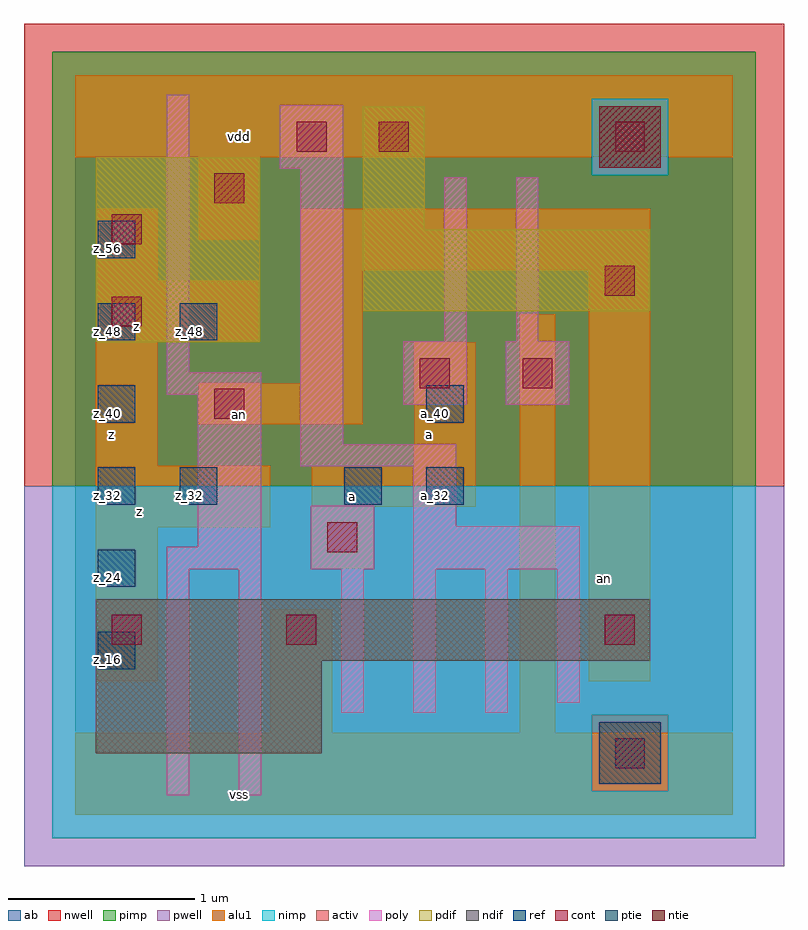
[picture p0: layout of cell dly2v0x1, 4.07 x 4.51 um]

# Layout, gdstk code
import gdstk
lib = gdstk.Library(unit=1e-6, precision=2.5e-09)
def R(c, l, rs):  # rectangles x0, y0, x1, y1
    for r in rs: c.add(gdstk.rectangle(r[:2], r[2:], *l))
def A(c, l, x, y, w, h, nx, ny, dx, dy):  # array of equal rectangles
    R(c, l, [(x+i*dx, y+j*dy, x+i*dx+w, y+j*dy+h) for i in range(nx) for j in range(ny)])
ndif = (3, 0)
pdif = (4, 0)
ntie = (5, 0)
ptie = (6, 0)
ref = (24, 0)
cont = (25, 0)
pwell = (41, 0)
nwell = (42, 0)
activ = (43, 0)
pimp = (44, 0)
nimp = (45, 0)
poly = (46, 0)
alu1 = (49, 0)
ab = (63, 0)

dly2v0x1 = lib.new_cell('dly2v0x1')
R(dly2v0x1, ndif, [(0.11,0.33,1.32,0.825), (0.11,0.825,3.08,1.155)])
R(dly2v0x1, pdif, [(0.11,2.53,0.99,3.52), (1.54,2.695,3.08,3.135), (1.54,3.135,1.87,3.795)])
R(dly2v0x1, ntie, [(2.805,3.465,3.135,3.795)])
R(dly2v0x1, ptie, [(2.805,0.165,3.135,0.495)])
A(dly2v0x1, ref, 0.12, 0.78, 0.2, 0.2, 1, 6, 0, 0.44)
R(dly2v0x1, ref, [(0.56,1.66,0.76,1.86), (1.44,1.66,1.64,1.86), (1.88,1.66,2.08,1.86), (1.88,2.1,2.08,2.3), (0.56,2.54,0.76,2.74)])
R(dly2v0x1, cont, [(2.89,0.25,3.05,0.41), (0.195,0.91,0.355,1.07), (1.13,0.91,1.29,1.07), (2.835,0.91,2.995,1.07), (1.35,1.405,1.51,1.565), (0.745,2.12,0.905,2.28), (1.845,2.285,2.005,2.445), (2.395,2.285,2.555,2.445), (0.195,2.615,0.355,2.775), (2.835,2.78,2.995,2.94), (0.195,3.055,0.355,3.215), (0.745,3.275,0.905,3.435), (1.185,3.55,1.345,3.71), (1.625,3.55,1.785,3.71), (2.89,3.55,3.05,3.71)])
R(dly2v0x1, pwell, [(-0.275,-0.275,3.795,1.76)])
R(dly2v0x1, nwell, [(-0.275,1.76,3.795,4.235)])
R(dly2v0x1, activ, [(2.805,0.165,3.135,0.495), (0.11,0.33,1.32,0.825), (0.11,0.825,3.08,1.155), (0.11,2.53,0.99,3.52), (1.54,2.695,3.08,3.135), (1.54,3.135,1.87,3.795), (2.805,3.465,3.135,3.795)])
R(dly2v0x1, pimp, [(2.765,0.125,3.175,0.535), (-0.125,1.76,3.645,3.425), (-0.125,3.425,2.765,3.835), (3.175,3.425,3.645,3.835), (-0.125,3.835,3.645,4.085)])
R(dly2v0x1, nimp, [(-0.125,-0.125,3.645,0.125), (-0.125,0.125,2.765,0.535), (3.175,0.125,3.645,0.535), (-0.125,0.535,3.645,1.76), (2.765,3.425,3.175,3.835)])
A(dly2v0x1, poly, 1.425, 0.545, 0.12, 0.77, 3, 1, 0.385, 0)
R(dly2v0x1, poly, [(0.49,0.105,0.61,1.315), (0.875,0.105,0.995,1.315), (2.58,0.6,2.7,1.315), (0.49,1.315,0.995,1.435), (1.26,1.315,1.6,1.655), (1.81,1.315,2.7,1.545), (0.655,1.435,0.995,2.25), (1.81,1.545,2.04,1.865), (1.205,1.865,2.04,1.985), (1.205,1.985,1.435,3.46), (1.755,2.195,2.095,2.535), (2.305,2.195,2.645,2.535), (0.49,2.25,0.995,2.37), (0.49,2.37,0.61,3.855), (1.975,2.535,2.095,3.415), (2.36,2.535,2.48,3.415), (1.095,3.46,1.435,3.8)])
R(dly2v0x1, alu1, [(0,0,3.52,0.44), (1.045,0.44,1.375,1.1), (2.38,0.44,2.57,2.68), (0.11,0.715,0.44,1.54), (2.75,0.715,3.08,2.915), (1.265,1.32,1.595,1.65), (0.11,1.54,1.045,1.87), (1.265,1.65,2.145,1.87), (0.11,1.87,0.44,2.53), (1.815,1.87,2.145,2.53), (0.66,2.09,1.54,2.31), (1.21,2.31,1.54,2.915), (0.11,2.53,0.99,2.86), (0.11,2.86,0.44,3.245), (1.21,2.915,3.08,3.245), (0.66,3.08,0.99,3.52), (0,3.52,3.52,3.96)])
R(dly2v0x1, ab, [(0,0,3.52,3.96)])
dly2v0x1.add(gdstk.Label('vss', (0.88,0.11), layer=49, texttype=0))
dly2v0x1.add(gdstk.Label('an', (2.8325,1.265), layer=49, texttype=0))
dly2v0x1.add(gdstk.Label('a', (1.485,1.705), layer=49, texttype=0))
dly2v0x1.add(gdstk.Label('z', (0.3425,1.6225), layer=49, texttype=0))
dly2v0x1.add(gdstk.Label('a', (1.8975,2.035), layer=49, texttype=0))
dly2v0x1.add(gdstk.Label('an', (0.88,2.145), layer=49, texttype=0))
dly2v0x1.add(gdstk.Label('z', (0.1925,2.035), layer=49, texttype=0))
dly2v0x1.add(gdstk.Label('z', (0.33,2.6125), layer=49, texttype=0))
dly2v0x1.add(gdstk.Label('vdd', (0.88,3.63), layer=49, texttype=0))
dly2v0x1.add(gdstk.Label('z_32', (0.61,1.71), layer=24, texttype=0))
dly2v0x1.add(gdstk.Label('z_48', (0.61,2.59), layer=24, texttype=0))
dly2v0x1.add(gdstk.Label('a_32', (1.49,1.71), layer=24, texttype=0))
dly2v0x1.add(gdstk.Label('a_32', (1.93,1.71), layer=24, texttype=0))
dly2v0x1.add(gdstk.Label('a_40', (1.93,2.15), layer=24, texttype=0))
dly2v0x1.add(gdstk.Label('z_16', (0.17,0.83), layer=24, texttype=0))
dly2v0x1.add(gdstk.Label('z_24', (0.17,1.27), layer=24, texttype=0))
dly2v0x1.add(gdstk.Label('z_32', (0.17,1.71), layer=24, texttype=0))
dly2v0x1.add(gdstk.Label('z_40', (0.17,2.15), layer=24, texttype=0))
dly2v0x1.add(gdstk.Label('z_48', (0.17,2.59), layer=24, texttype=0))
dly2v0x1.add(gdstk.Label('z_56', (0.17,3.03), layer=24, texttype=0))

lib.write_gds('dly2v0x1.gds')
